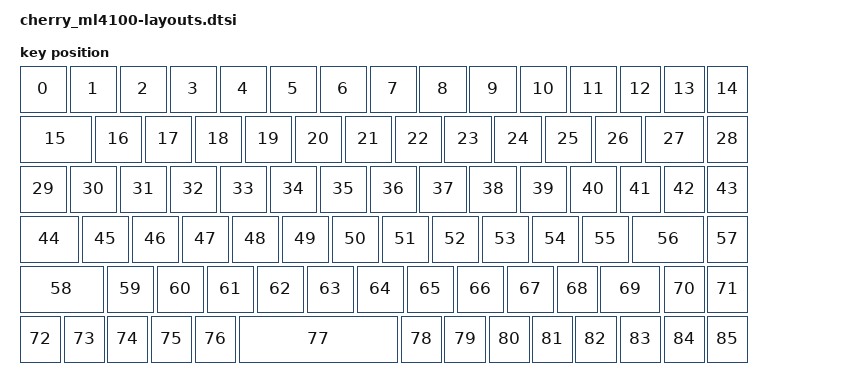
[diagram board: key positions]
#include <physical_layouts.dtsi>

/ {
    physical_layout0: physical_layout_0 {
        compatible = "zmk,physical-layout";
        display-name = "Cherry ML4100 84 keys default";

        kscan = <&kscan0>;
        transform = <&matrix_transform0>;

        keys  //                     w   h    x    y     rot    rx    ry
            = <&key_physical_attrs 100 100    0    0       0     0     0>
            , <&key_physical_attrs 100 100  100    0       0     0     0>
            , <&key_physical_attrs 100 100  200    0       0     0     0>
            , <&key_physical_attrs 100 100  300    0       0     0     0>
            , <&key_physical_attrs 100 100  400    0       0     0     0>
            , <&key_physical_attrs 100 100  500    0       0     0     0>
            , <&key_physical_attrs 100 100  600    0       0     0     0>
            , <&key_physical_attrs 100 100  700    0       0     0     0>
            , <&key_physical_attrs 100 100  800    0       0     0     0>
            , <&key_physical_attrs 100 100  900    0       0     0     0>
            , <&key_physical_attrs 100 100 1000    0       0     0     0>
            , <&key_physical_attrs 100 100 1100    0       0     0     0>
            , <&key_physical_attrs  88 100 1200    0       0     0     0>
            , <&key_physical_attrs  88 100 1288    0       0     0     0>
            , <&key_physical_attrs  88 100 1375    0       0     0     0>
            , <&key_physical_attrs 150 100    0  100       0     0     0>
            , <&key_physical_attrs 100 100  150  100       0     0     0>
            , <&key_physical_attrs 100 100  250  100       0     0     0>
            , <&key_physical_attrs 100 100  350  100       0     0     0>
            , <&key_physical_attrs 100 100  450  100       0     0     0>
            , <&key_physical_attrs 100 100  550  100       0     0     0>
            , <&key_physical_attrs 100 100  650  100       0     0     0>
            , <&key_physical_attrs 100 100  750  100       0     0     0>
            , <&key_physical_attrs 100 100  850  100       0     0     0>
            , <&key_physical_attrs 100 100  950  100       0     0     0>
            , <&key_physical_attrs 100 100 1050  100       0     0     0>
            , <&key_physical_attrs 100 100 1150  100       0     0     0>
            , <&key_physical_attrs 125 100 1250  100       0     0     0>
            , <&key_physical_attrs  88 100 1375  100       0     0     0>
            , <&key_physical_attrs 100 100    0  200       0     0     0>
            , <&key_physical_attrs 100 100  100  200       0     0     0>
            , <&key_physical_attrs 100 100  200  200       0     0     0>
            , <&key_physical_attrs 100 100  300  200       0     0     0>
            , <&key_physical_attrs 100 100  400  200       0     0     0>
            , <&key_physical_attrs 100 100  500  200       0     0     0>
            , <&key_physical_attrs 100 100  600  200       0     0     0>
            , <&key_physical_attrs 100 100  700  200       0     0     0>
            , <&key_physical_attrs 100 100  800  200       0     0     0>
            , <&key_physical_attrs 100 100  900  200       0     0     0>
            , <&key_physical_attrs 100 100 1000  200       0     0     0>
            , <&key_physical_attrs 100 100 1100  200       0     0     0>
            , <&key_physical_attrs  88 100 1200  200       0     0     0>
            , <&key_physical_attrs  88 100 1288  200       0     0     0>
            , <&key_physical_attrs  88 100 1375  200       0     0     0>
            , <&key_physical_attrs 125 100    0  300       0     0     0>
            , <&key_physical_attrs 100 100  125  300       0     0     0>
            , <&key_physical_attrs 100 100  225  300       0     0     0>
            , <&key_physical_attrs 100 100  325  300       0     0     0>
            , <&key_physical_attrs 100 100  425  300       0     0     0>
            , <&key_physical_attrs 100 100  525  300       0     0     0>
            , <&key_physical_attrs 100 100  625  300       0     0     0>
            , <&key_physical_attrs 100 100  725  300       0     0     0>
            , <&key_physical_attrs 100 100  825  300       0     0     0>
            , <&key_physical_attrs 100 100  925  300       0     0     0>
            , <&key_physical_attrs 100 100 1025  300       0     0     0>
            , <&key_physical_attrs 100 100 1125  300       0     0     0>
            , <&key_physical_attrs 150 100 1225  300       0     0     0>
            , <&key_physical_attrs  88 100 1375  300       0     0     0>
            , <&key_physical_attrs 175 100    0  400       0     0     0>
            , <&key_physical_attrs 100 100  175  400       0     0     0>
            , <&key_physical_attrs 100 100  275  400       0     0     0>
            , <&key_physical_attrs 100 100  375  400       0     0     0>
            , <&key_physical_attrs 100 100  475  400       0     0     0>
            , <&key_physical_attrs 100 100  575  400       0     0     0>
            , <&key_physical_attrs 100 100  675  400       0     0     0>
            , <&key_physical_attrs 100 100  775  400       0     0     0>
            , <&key_physical_attrs 100 100  875  400       0     0     0>
            , <&key_physical_attrs 100 100  975  400       0     0     0>
            , <&key_physical_attrs  88 100 1075  400       0     0     0>
            , <&key_physical_attrs 125 100 1162  400       0     0     0>
            , <&key_physical_attrs  88 100 1288  400       0     0     0>
            , <&key_physical_attrs  88 100 1375  400       0     0     0>
            , <&key_physical_attrs  88 100    0  500       0     0     0>
            , <&key_physical_attrs  88 100   88  500       0     0     0>
            , <&key_physical_attrs  88 100  175  500       0     0     0>
            , <&key_physical_attrs  88 100  262  500       0     0     0>
            , <&key_physical_attrs  88 100  350  500       0     0     0>
            , <&key_physical_attrs 325 100  438  500       0     0     0>
            , <&key_physical_attrs  88 100  762  500       0     0     0>
            , <&key_physical_attrs  88 100  850  500       0     0     0>
            , <&key_physical_attrs  88 100  938  500       0     0     0>
            , <&key_physical_attrs  88 100 1025  500       0     0     0>
            , <&key_physical_attrs  88 100 1112  500       0     0     0>
            , <&key_physical_attrs  88 100 1200  500       0     0     0>
            , <&key_physical_attrs  88 100 1288  500       0     0     0>
            , <&key_physical_attrs  88 100 1375  500       0     0     0>
            ;
    };
};
